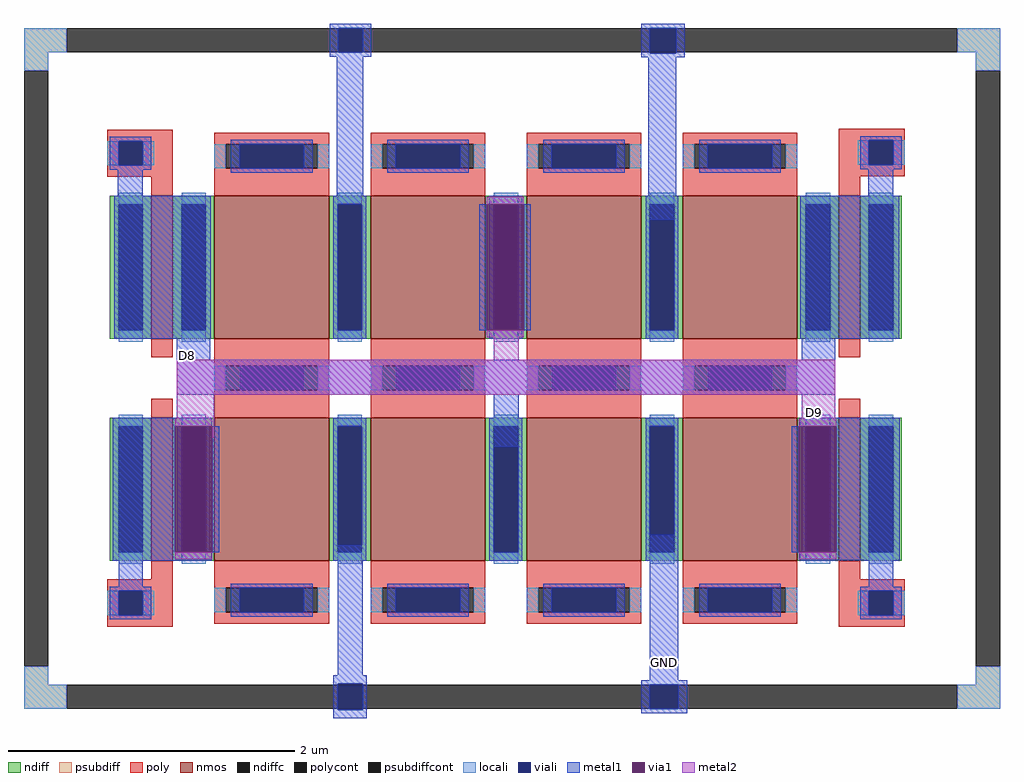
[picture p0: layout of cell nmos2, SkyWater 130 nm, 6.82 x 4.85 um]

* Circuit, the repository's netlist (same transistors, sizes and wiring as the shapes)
** sch_path: /home/afgar/opamp/mag/nmos2.sch
.subckt nmos2 D9 D8 GND
*.PININFO GND:B D9:O D8:O
XM7 D9 D8 GND GND sky130_fd_pr__nfet_01v8 L=0.8 W=1 nf=1 m=4
XM8 D8 D8 GND GND sky130_fd_pr__nfet_01v8 L=0.8 W=1 nf=1 m=4
XM1 D9 D9 D9 GND sky130_fd_pr__nfet_01v8 L=0.15 W=1 nf=1 m=2
XM2 D8 D8 D8 GND sky130_fd_pr__nfet_01v8 L=0.15 W=1 nf=1 m=2
.ends
.end

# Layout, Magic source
magic
tech sky130A
magscale 1 2
<< psubdiff >>
rect -208 488 -148 522
rect 1095 488 1155 522
rect -208 462 -174 488
rect 1121 462 1155 488
rect -208 -395 -174 -369
rect 1121 -395 1155 -369
rect -208 -429 -148 -395
rect 1095 -429 1155 -395
<< psubdiffcont >>
rect -148 488 1095 522
rect -208 -369 -174 462
rect 1121 -369 1155 462
rect -148 -429 1095 -395
<< poly >>
rect -92 364 0 380
rect -92 330 -76 364
rect -42 330 0 364
rect -92 314 0 330
rect 930 365 1022 381
rect 930 331 972 365
rect 1006 331 1022 365
rect 930 315 1022 331
rect 930 314 960 315
rect -92 -264 0 -248
rect -92 -298 -76 -264
rect -42 -298 0 -264
rect -92 -314 0 -298
rect 930 -264 1022 -248
rect 930 -298 972 -264
rect 1006 -298 1022 -264
rect 930 -314 1022 -298
<< polycont >>
rect -76 330 -42 364
rect 972 331 1006 365
rect -76 -298 -42 -264
rect 972 -298 1006 -264
<< locali >>
rect -208 488 -148 522
rect 1095 488 1155 522
rect -208 462 -174 488
rect 1121 462 1155 488
rect -92 330 -76 364
rect -42 330 -26 364
rect 956 331 972 365
rect 1006 331 1022 365
rect -92 -298 -76 -264
rect -42 -298 -26 -264
rect 956 -298 972 -264
rect 1006 -298 1022 -264
rect -208 -395 -174 -369
rect 1121 -395 1155 -369
rect -208 -429 -148 -395
rect 1095 -429 1155 -395
<< viali >>
rect 231 488 265 522
rect 666 488 703 522
rect 666 487 703 488
rect -76 330 -42 364
rect 972 331 1006 365
rect -76 -298 -42 -264
rect 972 -298 1006 -264
rect 230 -395 265 -394
rect 230 -429 265 -395
rect 666 -429 706 -395
rect 230 -430 265 -429
<< metal1 >>
rect 219 522 277 528
rect 219 488 231 522
rect 265 488 277 522
rect 219 482 277 488
rect 654 522 715 528
rect 654 487 666 522
rect 703 487 715 522
rect -88 364 -30 370
rect -88 330 -76 364
rect -42 330 -30 364
rect -88 324 -30 330
rect -77 288 -42 324
rect -82 88 53 288
rect 229 281 266 482
rect 654 481 715 487
rect 428 100 438 276
rect 490 100 500 276
rect 664 254 703 481
rect 960 365 1018 371
rect 960 331 972 365
rect 1006 331 1018 365
rect 960 325 1018 331
rect 971 288 1006 325
rect 876 88 1014 288
rect 5 59 52 88
rect 878 59 925 88
rect 5 10 925 59
rect -84 -34 54 -22
rect -84 -210 3 -34
rect 55 -210 65 -34
rect 448 -63 483 10
rect 875 -34 1015 -22
rect -84 -222 54 -210
rect -76 -258 -42 -222
rect -88 -264 -30 -258
rect -88 -298 -76 -264
rect -42 -298 -30 -264
rect -88 -304 -30 -298
rect 230 -382 265 -200
rect 224 -394 271 -382
rect 666 -389 706 -186
rect 864 -210 874 -34
rect 926 -210 1015 -34
rect 875 -221 1015 -210
rect 972 -258 1006 -222
rect 960 -264 1018 -258
rect 960 -298 972 -264
rect 1006 -298 1018 -264
rect 960 -304 1018 -298
rect 224 -430 230 -394
rect 265 -430 271 -394
rect 224 -442 271 -430
rect 654 -395 718 -389
rect 654 -429 666 -395
rect 706 -429 718 -395
rect 654 -435 718 -429
<< via1 >>
rect 438 100 490 276
rect 3 -210 55 -34
rect 874 -210 926 -34
<< metal2 >>
rect 438 276 490 286
rect 438 90 490 100
rect 448 59 483 90
rect 5 58 923 59
rect 5 10 925 58
rect 5 -24 58 10
rect 878 -24 925 10
rect 3 -34 58 -24
rect 55 -50 58 -34
rect 874 -34 926 -24
rect 3 -220 55 -210
rect 874 -220 926 -210
use sky130_fd_pr__nfet_01v8_DXNGNZ  sky130_fd_pr__nfet_01v8_DXNGNZ_0
transform 1 0 465 0 1 188
box -465 -188 465 188
use sky130_fd_pr__nfet_01v8_DXNGNZ  sky130_fd_pr__nfet_01v8_DXNGNZ_1
transform 1 0 465 0 1 -122
box -465 -188 465 188
use sky130_fd_pr__nfet_01v8_SJFSNB  sky130_fd_pr__nfet_01v8_SJFSNB_0
transform 1 0 -15 0 1 -122
box -73 -126 73 126
use sky130_fd_pr__nfet_01v8_SJFSNB  sky130_fd_pr__nfet_01v8_SJFSNB_1
transform 1 0 -15 0 1 188
box -73 -126 73 126
use sky130_fd_pr__nfet_01v8_SJFSNB  sky130_fd_pr__nfet_01v8_SJFSNB_2
transform 1 0 945 0 1 188
box -73 -126 73 126
use sky130_fd_pr__nfet_01v8_SJFSNB  sky130_fd_pr__nfet_01v8_SJFSNB_3
transform 1 0 945 0 1 -122
box -73 -126 73 126
<< labels >>
flabel metal2 896 -15 896 -15 0 FreeSans 1600 0 0 0 D9
port 1 nsew
flabel metal1 20 64 20 64 0 FreeSans 1600 0 0 0 D8
port 0 nsew
flabel metal1 686 -364 686 -364 0 FreeSans 800 0 0 0 GND
port 2 nsew
<< end >>

# cell sky130_fd_pr__nfet_01v8_DXNGNZ: kit device sky130_fd_pr__nfet_01v8, w 1 l 0.8 m 1 nf 4 diffcov 100 polycov 100 guard 0 glc 1 grc 1 gtc 1 gbc 1 tbcov 100 rlcov 100 topc 1 botc 1 poverlap 0 doverlap 1 lmin 0.15 wmin 0.42 compatible {sky130_fd_pr__nfet_01v8 sky130_fd_pr__nfet_01v8_lvt sky130_fd_bs_flash__special_sonosfet_star sky130_fd_pr__nfet_g5v0d10v5 sky130_fd_pr__nfet_05v0_nvt sky130_fd_pr__nfet_03v3_nvt} full_metal 1 viasrc 100 viadrn 100 viagate 70 viagb 0 viagr 0 viagl 0 viagt 0

# cell sky130_fd_pr__nfet_01v8_SJFSNB: kit device sky130_fd_pr__nfet_01v8, w 1 l 0.15 m 1 nf 1 diffcov 100 polycov 100 guard 0 glc 1 grc 1 gtc 1 gbc 1 tbcov 100 rlcov 100 topc 0 botc 0 poverlap 0 doverlap 1 lmin 0.15 wmin 0.42 compatible {sky130_fd_pr__nfet_01v8 sky130_fd_pr__nfet_01v8_lvt sky130_fd_bs_flash__special_sonosfet_star sky130_fd_pr__nfet_g5v0d10v5 sky130_fd_pr__nfet_05v0_nvt sky130_fd_pr__nfet_03v3_nvt} full_metal 1 viasrc 100 viadrn 100 viagate 100 viagb 0 viagr 0 viagl 0 viagt 0
